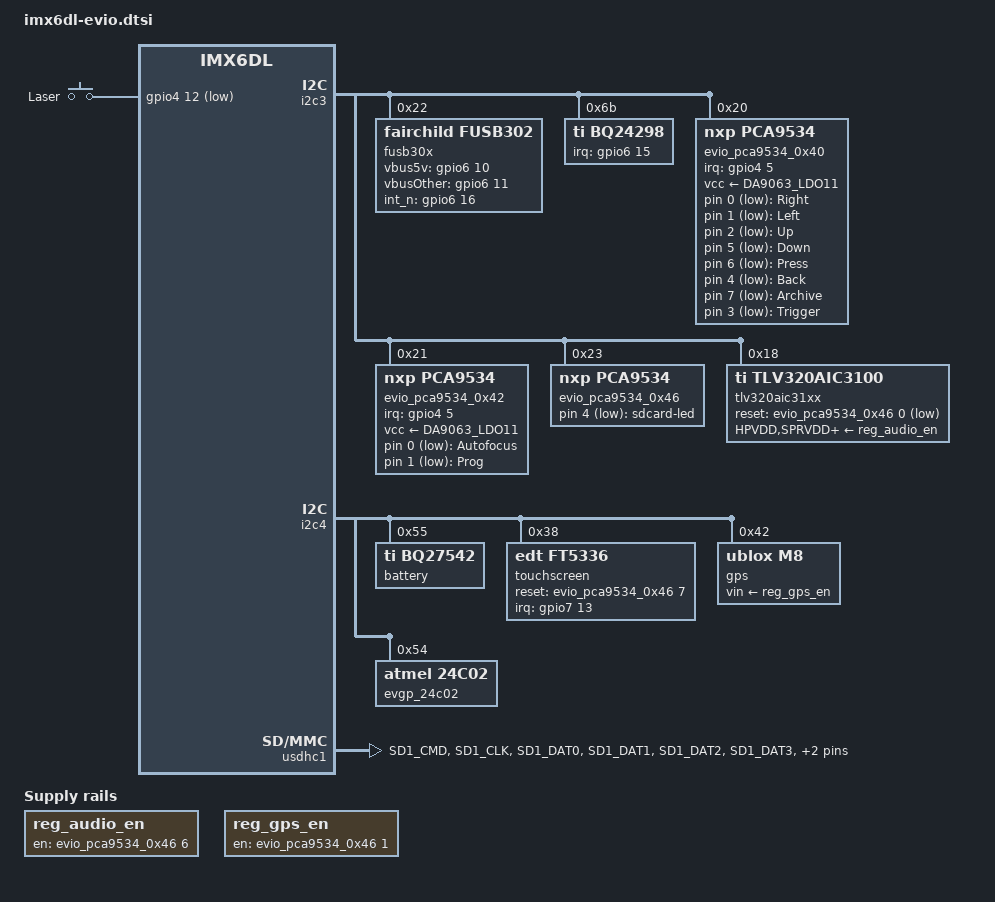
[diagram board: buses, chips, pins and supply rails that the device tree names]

/*
 * Copyright 2015 FLIR Systems.
 *
 * The code contained herein is licensed under the GNU General Public
 * License. You may obtain a copy of the GNU General Public License
 * Version 2 or later at the following locations:
 *
 * http://www.opensource.org/licenses/gpl-license.html
 * http://www.gnu.org/copyleft/gpl.html
 */

#include <dt-bindings/gpio/gpio.h>
#include <dt-bindings/input/input.h>
/*This file represents evio-b and later*/

/ {
	erla-keyboard {
		compatible = "gpio-keys";

		autorepeat;
		keyboard_right {
			label = "Right";
			gpio-key;
			gpios = <&evio_pca9534_0x40 0 GPIO_ACTIVE_LOW>;
			linux,code = <106>;
		};
		keyboard_left {
			label = "Left";
			gpio-key;
			gpios = <&evio_pca9534_0x40 1 GPIO_ACTIVE_LOW>;
			linux,code = <105>;
		};
		keyboard_up {
			label = "Up";
			gpio-key;
			gpios = <&evio_pca9534_0x40 2 GPIO_ACTIVE_LOW>;
			linux,code = <103>;
		};
		keyboard_down {
			label = "Down";
			gpio-key;
			gpios = <&evio_pca9534_0x40 5 GPIO_ACTIVE_LOW>;
			linux,code = <108>;
		};

		keyboard_press {
			label = "Press";
			gpio-key;
			gpios = <&evio_pca9534_0x40 6 GPIO_ACTIVE_LOW>;
			linux,code = <28>;
		};
		keyboard_back {
			label = "Back";
			gpio-key;
			gpios = <&evio_pca9534_0x40 4 GPIO_ACTIVE_LOW>;
			linux,code = <59>;
		};
		keyboard_archive {
			label = "Archive";
			gpio-key;
			gpios = <&evio_pca9534_0x40 7 GPIO_ACTIVE_LOW>;
			linux,code = <65>; //F7
		};
		button_trigger {
			label = "Trigger";
			gpio-key;
			gpios = <&evio_pca9534_0x40 3 GPIO_ACTIVE_LOW>;
			linux,code = <64>;
		};
		button_autofocus {
			label = "Autofocus";
			gpio-key;
			gpios = <&evio_pca9534_0x42 0 GPIO_ACTIVE_LOW>;
			linux,code = <3>;
		};
		button_prog {
			label = "Prog";
			gpio-key;
			gpios = <&evio_pca9534_0x42 1 GPIO_ACTIVE_LOW>;
			linux,code = <67>;
		};
		button_laser {
			label = "Laser";
			gpio-key;
			debounce-interval = <100>;
			gpios = <&gpio4 12 GPIO_ACTIVE_LOW>;
			linux,code = <KEY_KPASTERISK>;
		};
	};

	leds { 
		compatible = "gpio-leds";
		debug-led {
			label = "sdcard-led"; //name sdcard-led used by autofs 
			//to turn-on and off when filesystem is mounted
			gpios = <&evio_pca9534_0x46 4 GPIO_ACTIVE_LOW>;
		        default-state = "off";
			linux,default-trigger = "mmc1";
		};
	};

	regulators {
		compatible = "simple-bus";

		reg_audio_en: reg_audio_en {
			compatible = "regulator-fixed";
			regulator-name = "reg_audio_en";
			gpio = <&evio_pca9534_0x46 6 GPIO_ACTIVE_HIGH>;
			enable-active-high;
		};
		reg_gps_en: reg_gps_en {
			compatible = "regulator-fixed";
			regulator-name = "reg_gps_en";
			gpio = <&evio_pca9534_0x46 1 GPIO_ACTIVE_HIGH>;
			enable-active-high;
		};

	};
	
	sound: sound {
		compatible = "fsl,imx-audio-tlv320aic31xx";
		model = "imx-audio-tlv320aic31xx";
		cpu-dai = <&ssi1>;
		audio-routing =
			"Ext Spk", "SPK",
			"Mic Jack", "MICBIAS",
			"MIC1RP", "Mic Jack";
		audio-codec = <&tlv320aic31xx>;
		mux-int-port = <1>;
		mux-ext-port = <5>;
	};
};

&i2c3 {

	fusb30x@22 {
		//I/O Expander
		compatible = "fairchild,fusb302";
		reg = <0x22>;
		status = "okay";
		//status = "disabled";
		fairchild,vbus5v	= <&gpio6 10 0>;  //FIXME: Unused IO pin
		fairchild,vbusOther	= <&gpio6 11 0>;  //FIXME: Unused IO pin
		fairchild,int_n         = <&gpio6 16 0>;
		usbmux-gpio-pol         = <&evio_pca9534_0x42 2 GPIO_ACTIVE_HIGH>;
		usbmux-gpio-amsel       = <&evio_pca9534_0x42 3 GPIO_ACTIVE_HIGH>;
		usbmux-gpio-en          = <&evio_pca9534_0x42 4 GPIO_ACTIVE_HIGH>;
	};

	bq24298@6b {
		compatible = "ti,bq24298";
		reg = <0x6b>;
		interrupt-parent = <&gpio6>;
		interrupts = <15 2>;
		//ti,usb-charger-detection = <&usbotg>;
		status = "okay";
	};

	evio_pca9534_0x40: evio_pca9534_0x40@20 {
		//Keyboard I/O exapander
		compatible = "nxp,pca9534";
		reg = <0x20>;
		gpio-controller;
		vcc-supply = <&DA9063_LDO11>;
		interrupt-parent = <&gpio4>; //I2C3_Alert_n
		//interrupts = <7 IRQ_TYPE_EDGE_FALLING>;   //ec101-c
		interrupts = <5 IRQ_TYPE_EDGE_FALLING>;     //ec101-d
		interrupt-controller;
		interrupts-shared;
                #interrupt-cells = <2>;
                #gpio-cells = <2>;
	};

	evio_pca9534_0x42: evio_pca9534_0x42@21 {
		//pwr ctrl I/O Expander
		compatible = "nxp,pca9534";
		reg = <0x21>;
		gpio-controller;
		vcc-supply = <&DA9063_LDO11>;
		interrupt-parent = <&gpio4>; //I2C3_Alert_n
		//interrupts = <7 IRQ_TYPE_EDGE_FALLING>;  //ec101-c
		interrupts = <5 IRQ_TYPE_EDGE_FALLING>;    //ec101-d
		interrupt-controller;
		interrupts-shared;
                #interrupt-cells = <2>;
                #gpio-cells = <2>;
	};

	evio_pca9534_0x46: evio_pca9534_0x46@23 {
		compatible = "nxp,pca9534";
		reg = <0x23>;
		gpio-controller;
                #gpio-cells = <2>;
	};
	
	tlv320aic31xx: tlv320aic31xx@18 {
		compatible = "ti,tlv320aic3100";
		reg = <0x18>;
                ai31xx-micbias-vg = <1>; // 1=2.0V 2=2.5V 3=AVDD(3.15V)
                HPVDD-supply = <&reg_audio_en>;
                SPRVDD-supply = <&reg_audio_en>;
                SPLVDD-supply = <&reg_audio_en>;
                AVDD-supply = <&reg_audio_en>;
                IOVDD-supply = <&reg_audio_en>;
                DVDD-supply = <&reg_audio_en>;
		reset-gpios = <&evio_pca9534_0x46 0 GPIO_ACTIVE_LOW>;
	};
};

&i2c4 {
        battery: bq27542@55 {
		compatible = "ti,bq27542";
		reg = <0x55>;
	};

	touchscreen:edt_ft5336@38 {
		compatible = "edt,ft5336";
		reg = <0x38>;
		num-buttons = <0>;

		edt_mirror_x = <1>;
		edt_mirror_y = <1>;
		edt_max_x = <640>;
		edt_max_y = <480>;

		use_parameters = <0>;
		interrupt-parent = <&gpio7>;
		interrupts = <13 GPIO_ACTIVE_HIGH>;
		touchscreen-size-x = <640>;
		touchscreen-size-y = <480>;
		reset-gpios = <&evio_pca9534_0x46 7 GPIO_ACTIVE_HIGH>;
		//		wake-gpios = <&roco_pca9534 5 GPIO_ACTIVE_HIGH>;
		status = "okay";
	};

	gps:evgp_gps@42 {
		compatible = "ublox,m8";
		reg = <0x42>;
                interrupt-pin = <&gpio7 12 GPIO_ACTIVE_HIGH>;
                reset-pin = <&evio_pca9534_0x42 5 GPIO_ACTIVE_LOW>;
                vin-supply = <&reg_gps_en>;
		
	};

	evgp_24c02: evgp_24c02@54 {
		compatible = "atmel,24c02";
		reg = <0x54>;
		pagesize = <16>;
	};
	
};

/*SD-card*/
&usdhc1 {
	pinctrl-names = "default", "state_100mhz", "state_200mhz";
	pinctrl-0 = <&pinctrl_usdhc1>;
	pinctrl-1 = <&pinctrl_usdhc1_100mhz>;
	pinctrl-2 = <&pinctrl_usdhc1_200mhz>;
	cd-gpios = <&gpio6 14 GPIO_ACTIVE_LOW>;
	wp-gpios = <&evio_pca9534_0x46 3 GPIO_ACTIVE_HIGH>;
	vqmmc-supply = <&DA9063_LDO4>;
	max-frequency = <100000000>;
	status = "okay";
};

&iomuxc{
	imx6dl-ec101 {
		pinctrl_usdhc2: usdhc2grp {

			fsl,pins = <
				MX6QDL_PAD_SD2_CMD__SD2_CMD    0x170B9
				MX6QDL_PAD_SD2_CLK__SD2_CLK    0x100B9
				MX6QDL_PAD_SD2_DAT0__SD2_DATA0 0x170B9
				MX6QDL_PAD_SD2_DAT1__SD2_DATA1 0x170B9
				MX6QDL_PAD_SD2_DAT2__SD2_DATA2 0x170B9
				MX6QDL_PAD_SD2_DAT3__SD2_DATA3 0x170B9

			>;
		};

		pinctrl_usdhc1: usdhc1grp {

			fsl,pins = <
				MX6QDL_PAD_SD1_CMD__SD1_CMD    0x17069
				MX6QDL_PAD_SD1_CLK__SD1_CLK    0x10069
				MX6QDL_PAD_SD1_DAT0__SD1_DATA0 0x17069
				MX6QDL_PAD_SD1_DAT1__SD1_DATA1 0x17069
				MX6QDL_PAD_SD1_DAT2__SD1_DATA2 0x17069
				MX6QDL_PAD_SD1_DAT3__SD1_DATA3 0x17069
			>;
		};
	
		pinctrl_usdhc1_100mhz: usdhc3grp100mhz {
			fsl,pins = <
				MX6QDL_PAD_SD1_CMD__SD1_CMD    0x170f9
				MX6QDL_PAD_SD1_CLK__SD1_CLK    0x100f9
				MX6QDL_PAD_SD1_DAT0__SD1_DATA0 0x170f9
				MX6QDL_PAD_SD1_DAT1__SD1_DATA1 0x170f9
				MX6QDL_PAD_SD1_DAT2__SD1_DATA2 0x170f9
				MX6QDL_PAD_SD1_DAT3__SD1_DATA3 0x170f9
			>;
		};

		pinctrl_usdhc1_200mhz: usdhc3grp200mhz {
			fsl,pins = <
				MX6QDL_PAD_SD1_CMD__SD1_CMD    0x170f9
				MX6QDL_PAD_SD1_CLK__SD1_CLK    0x100f9
				MX6QDL_PAD_SD1_DAT0__SD1_DATA0 0x170f9
				MX6QDL_PAD_SD1_DAT1__SD1_DATA1 0x170f9
				MX6QDL_PAD_SD1_DAT2__SD1_DATA2 0x170f9
				MX6QDL_PAD_SD1_DAT3__SD1_DATA3 0x170f9
			>;
		};
	};
};





